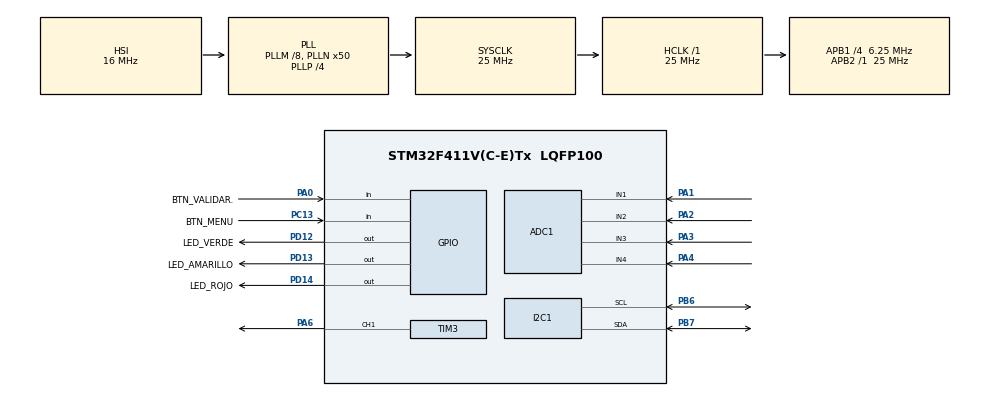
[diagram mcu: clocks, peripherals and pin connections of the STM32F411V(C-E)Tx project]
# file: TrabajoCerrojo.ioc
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ADC1.Channel-0\#ChannelRegularConversion=ADC_CHANNEL_1
ADC1.NbrOfConversionFlag=1
ADC1.Rank-0\#ChannelRegularConversion=1
ADC1.SamplingTime-0\#ChannelRegularConversion=ADC_SAMPLETIME_3CYCLES
ADC1.ScanConvMode=ENABLE
ADC1.master=1
Mcu.Family=STM32F4
Mcu.Name=STM32F411V(C-E)Tx
Mcu.Package=LQFP100
NVIC.PriorityGroup=NVIC_PRIORITYGROUP_0
NVIC.TIM2_IRQn=true\:0\:0\:false\:false\:true\:true\:true\:true
NVIC.TIM4_IRQn=true\:0\:0\:false\:false\:true\:true\:true\:true
PA0-WKUP.GPIO_Label=BTN_VALIDAR.
PA0-WKUP.GPIO_PuPd=GPIO_PULLUP
PA0-WKUP.Signal=GPIO_Input
PA1.Signal=ADCx_IN1
PA13.Mode=Serial_Wire
PA13.Signal=SYS_JTMS-SWDIO
PA14.Mode=Serial_Wire
PA14.Signal=SYS_JTCK-SWCLK
PA2.Signal=ADCx_IN2
PA3.Signal=ADCx_IN3
PA4.Signal=ADCx_IN4
PA6.Signal=S_TIM3_CH1
PB6.Mode=I2C
PB6.Signal=I2C1_SCL
PB7.Mode=I2C
PB7.Signal=I2C1_SDA
PC13-ANTI_TAMP.GPIO_Label=BTN_MENU
PC13-ANTI_TAMP.GPIO_PuPd=GPIO_PULLUP
PC13-ANTI_TAMP.Signal=GPIO_Input
PD12.GPIO_Label=LED_VERDE
PD12.Signal=GPIO_Output
PD13.GPIO_Label=LED_AMARILLO
PD13.Signal=GPIO_Output
PD14.GPIO_Label=LED_ROJO
PD14.Signal=GPIO_Output
ProjectManager.HeapSize=0x200
ProjectManager.StackSize=0x400
ProjectManager.TargetToolchain=STM32CubeIDE
RCC.48MHZClocksFreq_Value=12500000
RCC.AHBFreq_Value=25000000
RCC.APB1CLKDivider=RCC_HCLK_DIV4
RCC.APB1Freq_Value=6250000
RCC.APB1TimFreq_Value=12500000
RCC.APB2Freq_Value=25000000
RCC.APB2TimFreq_Value=25000000
RCC.CortexFreq_Value=25000000
RCC.HCLKFreq_Value=25000000
RCC.HSE_VALUE=8000000
RCC.HSI_VALUE=16000000
RCC.LSE_VALUE=32768
RCC.PLLI2SM=5
RCC.PLLI2SN=200
RCC.PLLM=8
RCC.PLLN=50
RCC.PLLP=RCC_PLLP_DIV4
RCC.PLLQ=8
RCC.SYSCLKFreq_VALUE=25000000
RCC.SYSCLKSource=RCC_SYSCLKSOURCE_PLLCLK
RCC.VCOOutputFreq_Value=100000000
SH.ADCx_IN1.0=ADC1_IN1,IN1
SH.ADCx_IN2.0=ADC1_IN2,IN2
SH.ADCx_IN3.0=ADC1_IN3,IN3
SH.ADCx_IN4.0=ADC1_IN4,IN4
SH.S_TIM3_CH1.0=TIM3_CH1,PWM Generation1 CH1
TIM2.Period=999
TIM2.Prescaler=12499
TIM3.Channel-PWM\ Generation1\ CH1=TIM_CHANNEL_1
TIM3.Period=1000
TIM3.Prescaler=95
TIM4.Period=9
TIM4.Prescaler=12499
VP_TIM2_VS_ClockSourceINT.Mode=Internal
VP_TIM4_VS_ClockSourceINT.Mode=Internal
board=STM32F411E-DISCO

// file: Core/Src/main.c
/* USER CODE BEGIN Header */
/**
  ******************************************************************************
  * @file           : main.c
  * @brief          : Main program body
  ******************************************************************************
  * @attention
  *
  * Copyright (c) 2025 STMicroelectronics.
  * All rights reserved.
  *
  * This software is licensed under terms that can be found in the LICENSE file
  * in the root directory of this software component.
  * If no LICENSE file comes with this software, it is provided AS-IS.
  *
  ******************************************************************************
  */
/* USER CODE END Header */
#include "main.h"
#include "adc.h"
#include "i2c.h"
#include "tim.h"
#include "gpio.h"

/* USER CODE BEGIN Includes */
#include <stdio.h>
#include "inputs_Jorge.h"
#include "audio_Jorge.h"
#include "display_Tudor.h"
#include "ranking_Tudor.h"
#include "juego_Gabriela.h"
/* USER CODE END Includes */

/* USER CODE BEGIN PV */
EntradasUsuario misPotenciometros;
volatile int tiempo_restante = 0;
volatile uint8_t flag_sonar_tic = 0;
/* USER CODE END PV */

void SystemClock_Config(void);
/* USER CODE BEGIN PFP */
void MX_I2C1_Init(void);
/* USER CODE END PFP */

int main(void)
{

  /* MCU Configuration--------------------------------------------------------*/

  /* Reset of all peripherals, Initializes the Flash interface and the Systick. */
  HAL_Init();

  /* Configure the system clock */
  SystemClock_Config();

  /* Initialize all configured peripherals */
  MX_GPIO_Init();
  MX_ADC1_Init();
  MX_TIM3_Init();
  MX_I2C1_Init();
  MX_TIM2_Init();
  MX_TIM4_Init();
  /* USER CODE BEGIN 2 */
  Inputs_Init();
  Display_Init();
  Ranking_Init();
  Audio_Init(&htim3);

  //Pantalla de carga al comienzo
  Display_LCD_Limpiar();
  Display_LCD_Escribir(0, 0, "Cargando...");
    for(int i = 0; i <= 100; i += 2) {
        Display_BarraProgreso(1, i);
        HAL_Delay(20);
    }

    HAL_Delay(500);
    Display_LCD_Limpiar();
//Bienvenida: Parpadeo de luces
    for(int k=0; k<3; k++) {
          Actualizar_Semaforo(LED_VICTORIA);
          HAL_Delay(150); // Encendido rápido
          Actualizar_Semaforo(LED_APAGADO);
          HAL_Delay(150); // Apagado rápido
      }

  Juego_Init();//Inicio del juego

  HAL_TIM_Base_Start_IT(&htim2); // Timer del Juego (1 Hz / 1 seg)
  HAL_TIM_Base_Start_IT(&htim4); // Bloetooth y Lógica

  /* USER CODE END 2 */

  /* Infinite loop */
  /* USER CODE BEGIN WHILE */
  // Limpiamos la pantalla una vez antes de entrar
    Display_LCD_Limpiar();
    /* Infinite loop */
      /* USER CODE BEGIN WHILE */
      Display_LCD_Limpiar(); // Esto ya lo tenías

      while (1)
      {
          // 1. GESTION DEL SONIDO TIC-TAC
    	  // 1. GESTION DEL SONIDO TIC-TAC
    	        if (flag_sonar_tic == 1) {
    	            // Efecto realista: Pares = Tic, Impares = Tac
    	            if (tiempo_restante % 2 == 0) {
    	                Audio_Play_Tic();
    	            } else {
    	                Audio_Play_Tac();
    	            }
    	            flag_sonar_tic = 0; // Bajamos la bandera
    	        }

    /* USER CODE END WHILE */

    /* USER CODE BEGIN 3 */
    	 Juego_FSM_Update();
      }
  /* USER CODE END 3 */
}

void SystemClock_Config(void)
{
  RCC_OscInitTypeDef RCC_OscInitStruct = {0};
  RCC_ClkInitTypeDef RCC_ClkInitStruct = {0};

  /** Configure the main internal regulator output voltage
  */
  __HAL_RCC_PWR_CLK_ENABLE();
  __HAL_PWR_VOLTAGESCALING_CONFIG(PWR_REGULATOR_VOLTAGE_SCALE1);

  /** Initializes the RCC Oscillators according to the specified parameters
  * in the RCC_OscInitTypeDef structure.
  */
  RCC_OscInitStruct.OscillatorType = RCC_OSCILLATORTYPE_HSI;
  RCC_OscInitStruct.HSIState = RCC_HSI_ON;
  RCC_OscInitStruct.HSICalibrationValue = RCC_HSICALIBRATION_DEFAULT;
  RCC_OscInitStruct.PLL.PLLState = RCC_PLL_ON;
  RCC_OscInitStruct.PLL.PLLSource = RCC_PLLSOURCE_HSI;
  RCC_OscInitStruct.PLL.PLLM = 8;
  RCC_OscInitStruct.PLL.PLLN = 50;
  RCC_OscInitStruct.PLL.PLLP = RCC_PLLP_DIV4;
  RCC_OscInitStruct.PLL.PLLQ = 8;
  if (HAL_RCC_OscConfig(&RCC_OscInitStruct) != HAL_OK)
  {
    Error_Handler();
  }

  /** Initializes the CPU, AHB and APB buses clocks
  */
  RCC_ClkInitStruct.ClockType = RCC_CLOCKTYPE_HCLK|RCC_CLOCKTYPE_SYSCLK
                              |RCC_CLOCKTYPE_PCLK1|RCC_CLOCKTYPE_PCLK2;
  RCC_ClkInitStruct.SYSCLKSource = RCC_SYSCLKSOURCE_PLLCLK;
  RCC_ClkInitStruct.AHBCLKDivider = RCC_SYSCLK_DIV1;
  RCC_ClkInitStruct.APB1CLKDivider = RCC_HCLK_DIV4;
  RCC_ClkInitStruct.APB2CLKDivider = RCC_HCLK_DIV1;

  if (HAL_RCC_ClockConfig(&RCC_ClkInitStruct, FLASH_LATENCY_0) != HAL_OK)
  {
    Error_Handler();
  }
}

/* USER CODE BEGIN 4 */
/* USER CODE BEGIN 4 */
void HAL_TIM_PeriodElapsedCallback(TIM_HandleTypeDef *htim)
{
    // CASO 1: Timer del JUEGO (1 segundo)
    if (htim->Instance == TIM2) {
        if (tiempo_restante > 0) {
            tiempo_restante--;
            flag_sonar_tic = 1; // <--- ¡Importante que esté esto!
        }
    }

    // CASO 2: Timer RÁPIDO (Lógica del juego)
    if (htim->Instance == TIM4) {
    	Juego_Tick_Timer();
    }
}
/* USER CODE END 4 */

void Error_Handler(void)
{
  __disable_irq();
  while (1)
  {
  }
}
